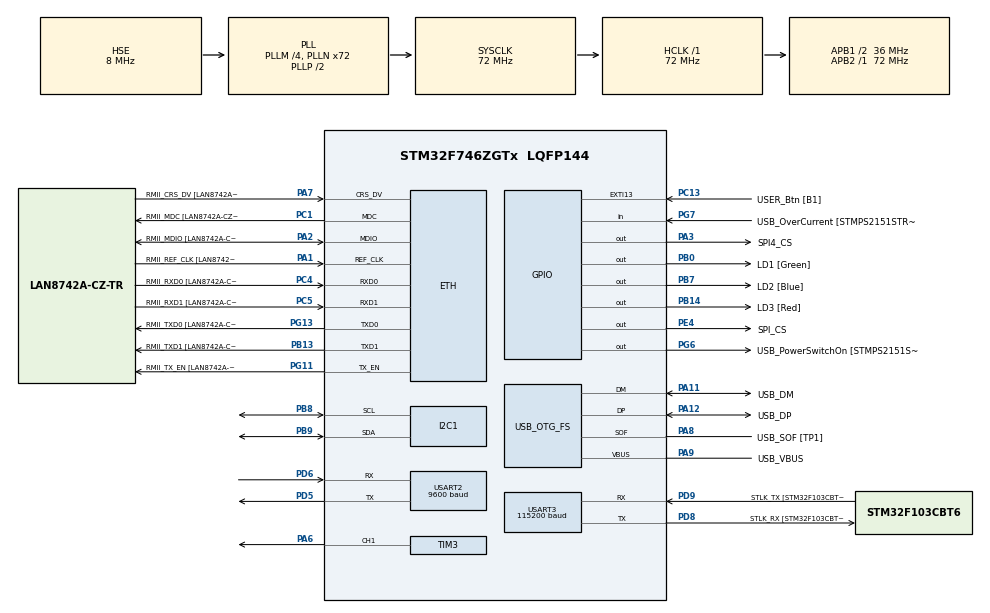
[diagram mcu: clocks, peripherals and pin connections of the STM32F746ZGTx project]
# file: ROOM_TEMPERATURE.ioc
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ETH.MediaInterface=HAL_ETH_RMII_MODE
ETH.PHY_Name=LAN8742A_PHY_ADDRESS
ETH.PHY_Value=0
ETH.PhyAddress=0
I2C1.Timing=0x00808CD2
Mcu.Family=STM32F7
Mcu.Name=STM32F746ZGTx
Mcu.Package=LQFP144
NVIC.EXTI15_10_IRQn=true\:0\:0\:false\:false\:true\:true\:true\:true
NVIC.PriorityGroup=NVIC_PRIORITYGROUP_4
NVIC.TIM2_IRQn=true\:0\:0\:false\:false\:true\:true\:true\:true
NVIC.USART3_IRQn=true\:0\:0\:false\:false\:true\:true\:true\:true
PA1.GPIO_Label=RMII_REF_CLK [LAN8742A-CZ-TR_REFCLK0]
PA1.Mode=RMII
PA1.Signal=ETH_REF_CLK
PA10.GPIO_Label=USB_ID
PA10.Signal=USB_OTG_FS_ID
PA11.GPIO_Label=USB_DM
PA11.Mode=Device_Only
PA11.Signal=USB_OTG_FS_DM
PA12.GPIO_Label=USB_DP
PA12.Mode=Device_Only
PA12.Signal=USB_OTG_FS_DP
PA13.GPIO_Label=TMS
PA13.Mode=Serial_Wire
PA13.Signal=SYS_JTMS-SWDIO
PA14.GPIO_Label=TCK
PA14.Mode=Serial_Wire
PA14.Signal=SYS_JTCK-SWCLK
PA2.GPIO_Label=RMII_MDIO [LAN8742A-CZ-TR_MDIO]
PA2.Mode=RMII
PA2.Signal=ETH_MDIO
PA3.GPIO_Label=SPI4_CS
PA3.PinState=GPIO_PIN_SET
PA3.Signal=GPIO_Output
PA6.Signal=S_TIM3_CH1
PA7.GPIO_Label=RMII_CRS_DV [LAN8742A-CZ-TR_CRS_DV]
PA7.Mode=RMII
PA7.Signal=ETH_CRS_DV
PA8.GPIO_Label=USB_SOF [TP1]
PA8.Mode=Activate_SOF_FS
PA8.Signal=USB_OTG_FS_SOF
PA9.GPIO_Label=USB_VBUS
PA9.Mode=Activate_VBUS
PA9.Signal=USB_OTG_FS_VBUS
PB0.GPIO_Label=LD1 [Green]
PB0.Signal=GPIO_Output
PB13.GPIO_Label=RMII_TXD1 [LAN8742A-CZ-TR_TXD1]
PB13.Mode=RMII
PB13.Signal=ETH_TXD1
PB14.GPIO_Label=LD3 [Red]
PB14.Signal=GPIO_Output
PB3.GPIO_Label=SW0
PB3.Signal=SYS_JTDO-SWO
PB7.GPIO_Label=LD2 [Blue]
PB7.Signal=GPIO_Output
PB8.Mode=I2C
PB8.Signal=I2C1_SCL
PB9.Mode=I2C
PB9.Signal=I2C1_SDA
PC1.GPIO_Label=RMII_MDC [LAN8742A-CZ-TR_MDC]
PC1.Mode=RMII
PC1.Signal=ETH_MDC
PC13.GPIO_Label=USER_Btn [B1]
PC13.Signal=GPXTI13
PC14/OSC32_IN.Mode=LSE-External-Oscillator
PC14/OSC32_IN.Signal=RCC_OSC32_IN
PC15/OSC32_OUT.Mode=LSE-External-Oscillator
PC15/OSC32_OUT.Signal=RCC_OSC32_OUT
PC4.GPIO_Label=RMII_RXD0 [LAN8742A-CZ-TR_RXD0]
PC4.Mode=RMII
PC4.Signal=ETH_RXD0
PC5.GPIO_Label=RMII_RXD1 [LAN8742A-CZ-TR_RXD1]
PC5.Mode=RMII
PC5.Signal=ETH_RXD1
PD5.Mode=Asynchronous
PD5.Signal=USART2_TX
PD6.Mode=Asynchronous
PD6.Signal=USART2_RX
PD8.GPIO_Label=STLK_RX [STM32F103CBT6_PA3]
PD8.GPIO_PuPd=GPIO_PULLUP
PD8.Mode=Asynchronous
PD8.Signal=USART3_TX
PD9.GPIO_Label=STLK_TX [STM32F103CBT6_PA2]
PD9.GPIO_PuPd=GPIO_PULLUP
PD9.Mode=Asynchronous
PD9.Signal=USART3_RX
PE4.GPIO_Label=SPI_CS
PE4.PinState=GPIO_PIN_SET
PE4.Signal=GPIO_Output
PG11.GPIO_Label=RMII_TX_EN [LAN8742A-CZ-TR_TXEN]
PG11.Mode=RMII
PG11.Signal=ETH_TX_EN
PG13.GPIO_Label=RMII_TXD0 [LAN8742A-CZ-TR_TXD0]
PG13.Mode=RMII
PG13.Signal=ETH_TXD0
PG6.GPIO_Label=USB_PowerSwitchOn [STMPS2151STR_EN]
PG6.Signal=GPIO_Output
PG7.GPIO_Label=USB_OverCurrent [STMPS2151STR_FAULT]
PG7.Signal=GPIO_Input
PH0/OSC_IN.GPIO_Label=MCO [STM32F103CBT6_PA8]
PH0/OSC_IN.Mode=HSE-External-Clock-Source
PH0/OSC_IN.Signal=RCC_OSC_IN
PH1/OSC_OUT.Mode=HSE-External-Clock-Source
PH1/OSC_OUT.Signal=RCC_OSC_OUT
ProjectManager.HeapSize=0x200
ProjectManager.StackSize=0x400
ProjectManager.TargetToolchain=STM32CubeIDE
RCC.48MHZClocksFreq_Value=24000000
RCC.AHBFreq_Value=72000000
RCC.APB1CLKDivider=RCC_HCLK_DIV2
RCC.APB1Freq_Value=36000000
RCC.APB1TimFreq_Value=72000000
RCC.APB2Freq_Value=72000000
RCC.APB2TimFreq_Value=72000000
RCC.CortexFreq_Value=72000000
RCC.HCLKFreq_Value=72000000
RCC.HSE_VALUE=8000000
RCC.HSI_VALUE=16000000
RCC.PLLM=4
RCC.PLLMUL=RCC_PLL_MUL9
RCC.PLLN=72
RCC.PLLQ=3
RCC.PRESCALERUSB=RCC_USBCLKSOURCE_PLL_DIV1_5
RCC.SYSCLKFreq_VALUE=72000000
RCC.SYSCLKSource=RCC_SYSCLKSOURCE_PLLCLK
RCC.SYSCLKSourceVirtual=RCC_SYSCLKSOURCE_PLLCLK
RCC.USBFreq_Value=48000000
RCC.VCOOutputFreq_Value=144000000
SH.S_TIM3_CH1.0=TIM3_CH1,PWM Generation1 CH1
TIM2.AutoReloadPreload=TIM_AUTORELOAD_PRELOAD_ENABLE
TIM2.Period=10000 - 1
TIM2.Prescaler=9600 -1
TIM3.AutoReloadPreload=TIM_AUTORELOAD_PRELOAD_ENABLE
TIM3.Channel-PWM\ Generation1\ CH1=TIM_CHANNEL_1
TIM3.OCFastMode_PWM-PWM\ Generation1\ CH1=TIM_OCFAST_DISABLE
TIM3.Period=1000 -1 
TIM3.Prescaler=96 - 1
TIM3.Pulse-PWM\ Generation1\ CH1=0
USART2.BaudRate=9600
USART2.VirtualMode-Asynchronous=VM_ASYNC
USART3.BaudRate=115200
USART3.VirtualMode-Asynchronous=VM_ASYNC
USB_OTG_FS.VirtualMode=Device_Only
VP_TIM2_VS_ClockSourceINT.Mode=Internal
VP_TIM3_VS_ClockSourceINT.Mode=Internal
board=NUCLEO-F746ZG

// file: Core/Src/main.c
/* USER CODE BEGIN Header */
/**
  ******************************************************************************
  * @file           : main.c
  * @brief          : Main program body
  ******************************************************************************
  * @attention
  *
  * Copyright (c) 2024 STMicroelectronics.
  * All rights reserved.
  *
  * This software is licensed under terms that can be found in the LICENSE file
  * in the root directory of this software component.
  * If no LICENSE file comes with this software, it is provided AS-IS.
  *
  ******************************************************************************
  */
/* USER CODE END Header */
#include "main.h"
#include "eth.h"
#include "i2c.h"
#include "tim.h"
#include "usart.h"
#include "usb_otg.h"
#include "gpio.h"

/* USER CODE BEGIN Includes */
#include "stdio.h"
#include "BMPXX80.h"
#include "string.h"
/* USER CODE END Includes */

/* USER CODE BEGIN PV */
float current_temperature_f = 0.0f;
float set_temp_f = 32.0f;
float pwm_duty_f = 0.0f;
uint16_t pwm_duty_u = 0;
float pressure = 0.0f;
char buffer[100];
int i = 0;
char full_response[100];

#define MAX_OUTPUT  999
#define MIN_OUTPUT  0
#define MAX_I_TERM 0.2f   // Half of the PWM period (htim3.Init.Period)
#define MIN_I_TERM -0.2f  // Negative limit to allow for correction in the other direction

struct PID_Controller{
	float Kp;
	float Ki;
	float Kd;
	float Tp;
	float prev_error;
	float prev_u_I;
};
struct PID_Controller PID1;
float u_P, u_I, u_D;

float calculate_PID(struct PID_Controller *PID, float set_temp, float measured_temp) {
    float u = 0;
    float error;

    error = set_temp - measured_temp;

    // Proportional gain
    u_P = PID->Kp * error;

    // Integral gain
    u_I = PID->Ki * PID->Tp / 2.0 * (error + PID->prev_error) + PID->prev_u_I;

    // Derivative gain
    u_D = PID->Kd * (error - PID->prev_error) / PID->Tp;

    u = u_P + u_I + u_D;

    if (u > MAX_OUTPUT) {
        u = MAX_OUTPUT;
        u_I = PID->prev_u_I;
    } else if (u < MIN_OUTPUT) {
        u = MIN_OUTPUT;
        u_I = PID->prev_u_I;
    } else {
        PID->prev_u_I = u_I;
    }

    PID->prev_error = error;

    return u;
}

void HAL_TIM_PeriodElapsedCallback(TIM_HandleTypeDef *htim) {
    if (htim->Instance == TIM2) {
    	current_temperature_f = BMP280_ReadTemperature();
    	pwm_duty_f = (htim3.Init.Period * calculate_PID(&PID1, set_temp_f, current_temperature_f));
    	if (pwm_duty_f < 0.0 ){
    		pwm_duty_u = 0;
    	}
    	else if (pwm_duty_f > htim3.Init.Period){
    		pwm_duty_u = htim3.Init.Period;
    	}
    	else pwm_duty_u = (uint16_t) pwm_duty_f;
    	__HAL_TIM_SET_COMPARE(&htim3, TIM_CHANNEL_1, pwm_duty_u);
        uint32_t timestamp = HAL_GetTick();
        sprintf(full_response, "Timestamp: %lu ms, Set Temperature: %.2fC, Current Temperature: %.2fC, PWM Value: %u\r\n",
                timestamp, set_temp_f, current_temperature_f, pwm_duty_u);
        HAL_UART_Transmit(&huart3, (uint8_t*)full_response, strlen(full_response), 900);
    }
}

void slice(const char* str, char* result, size_t start, size_t end) {
    strncpy(result, str + start, end - start);
}

#define BUFFER_SIZE 10
char received[BUFFER_SIZE];

void HAL_UART_RxCpltCallback(UART_HandleTypeDef *huart) {
    if (huart->Instance == USART3) {
        // Check and process received command
        if (strncmp(received, "SETTEMP", 7) == 0) {
            char *tempStr = &received[7];
            int tempValue = atoi(tempStr);

            if (tempValue > 0 && tempValue <= 100) {
                set_temp_f = (float)tempValue;
                PID1.prev_u_I = 0.0f;
                char response[50];
                sprintf(response, "New temperature set: %.2fC\r\n", set_temp_f);
                HAL_UART_Transmit(&huart3, (uint8_t *)response, strlen(response), 100);
            } else {
                char response[50];
                sprintf(response, "Invalid temperature value: %s\r\n", tempStr);
                HAL_UART_Transmit(&huart3, (uint8_t *)response, strlen(response), 100);
            }
        } else {
            // Unrecognized command
            char response[50];
            sprintf(response, "Failed to recognize command: %s\r\n", received);
            HAL_UART_Transmit(&huart3, (uint8_t *)response, strlen(response), 100);
        }

        // Clear the buffer for the next command
        memset(received, '\0', BUFFER_SIZE);

        // Re-enable UART interrupt for the next reception
        HAL_UART_Receive_IT(&huart3, (uint8_t *)received, BUFFER_SIZE - 1);
    }
}

/* USER CODE END PV */

void SystemClock_Config(void);

int main(void)
{

  /* USER CODE BEGIN 1 */
	PID1.Kp = 0.045102305639845;
	PID1.Ki = 0.000655333866370601;
	PID1.Kd = 0.075898381935333;
	PID1.Tp = 1;
	PID1.prev_error = 0;
	PID1.prev_u_I = 0;
  /* USER CODE END 1 */

  /* MCU Configuration--------------------------------------------------------*/

  /* Reset of all peripherals, Initializes the Flash interface and the Systick. */
  HAL_Init();

  /* Configure the system clock */
  SystemClock_Config();

  /* Initialize all configured peripherals */
  MX_GPIO_Init();
  MX_ETH_Init();
  MX_I2C1_Init();
  MX_USART3_UART_Init();
  MX_USB_OTG_FS_PCD_Init();
  MX_TIM3_Init();
  MX_TIM2_Init();
  MX_USART2_UART_Init();
  /* USER CODE BEGIN 2 */
  BMP280_Init(&hi2c1, BMP280_TEMPERATURE_16BIT, BMP280_STANDARD, BMP280_FORCEDMODE);
  HAL_TIM_PWM_Start(&htim3, TIM_CHANNEL_1);
  HAL_TIM_Base_Start_IT(&htim2);
  HAL_UART_Receive_IT(&huart3, (uint8_t *)received, BUFFER_SIZE - 1);

  /* USER CODE END 2 */

  /* Infinite loop */
  while (1)
  {

  }
}

void SystemClock_Config(void)
{
  RCC_OscInitTypeDef RCC_OscInitStruct = {0};
  RCC_ClkInitTypeDef RCC_ClkInitStruct = {0};

  /** Configure LSE Drive Capability
  */
  HAL_PWR_EnableBkUpAccess();

  /** Configure the main internal regulator output voltage
  */
  __HAL_RCC_PWR_CLK_ENABLE();
  __HAL_PWR_VOLTAGESCALING_CONFIG(PWR_REGULATOR_VOLTAGE_SCALE3);

  /** Initializes the RCC Oscillators according to the specified parameters
  * in the RCC_OscInitTypeDef structure.
  */
  RCC_OscInitStruct.OscillatorType = RCC_OSCILLATORTYPE_HSE;
  RCC_OscInitStruct.HSEState = RCC_HSE_BYPASS;
  RCC_OscInitStruct.PLL.PLLState = RCC_PLL_ON;
  RCC_OscInitStruct.PLL.PLLSource = RCC_PLLSOURCE_HSE;
  RCC_OscInitStruct.PLL.PLLM = 4;
  RCC_OscInitStruct.PLL.PLLN = 72;
  RCC_OscInitStruct.PLL.PLLP = RCC_PLLP_DIV2;
  RCC_OscInitStruct.PLL.PLLQ = 3;
  if (HAL_RCC_OscConfig(&RCC_OscInitStruct) != HAL_OK)
  {
    Error_Handler();
  }

  /** Initializes the CPU, AHB and APB buses clocks
  */
  RCC_ClkInitStruct.ClockType = RCC_CLOCKTYPE_HCLK|RCC_CLOCKTYPE_SYSCLK
                              |RCC_CLOCKTYPE_PCLK1|RCC_CLOCKTYPE_PCLK2;
  RCC_ClkInitStruct.SYSCLKSource = RCC_SYSCLKSOURCE_PLLCLK;
  RCC_ClkInitStruct.AHBCLKDivider = RCC_SYSCLK_DIV1;
  RCC_ClkInitStruct.APB1CLKDivider = RCC_HCLK_DIV2;
  RCC_ClkInitStruct.APB2CLKDivider = RCC_HCLK_DIV1;

  if (HAL_RCC_ClockConfig(&RCC_ClkInitStruct, FLASH_LATENCY_2) != HAL_OK)
  {
    Error_Handler();
  }
}

void Error_Handler(void)
{
  __disable_irq();
  while (1)
  {
  }
}
